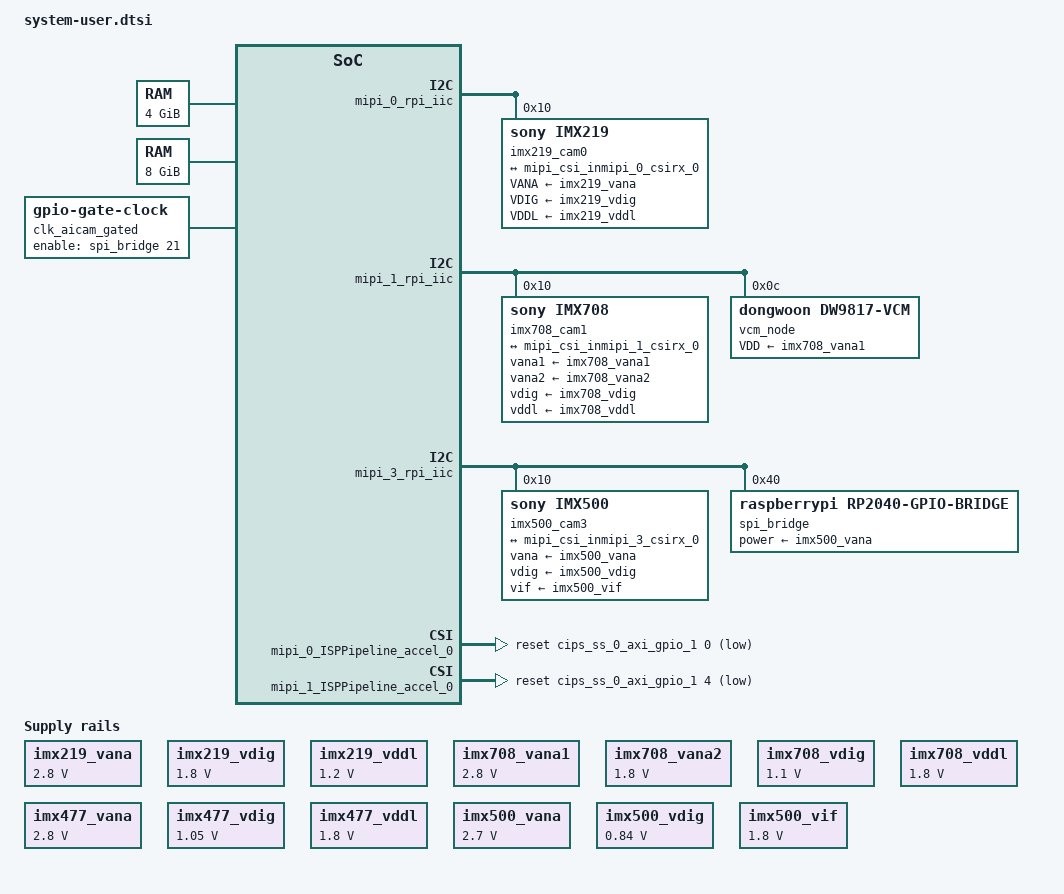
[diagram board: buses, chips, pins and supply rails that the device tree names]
//#include "include/dt-bindings/media/xilinx-vip.h"
/include/ "system-conf.dtsi"
/ {
	chosen {
		bootargs = "console=ttyAMA0  earlycon=pl011,mmio32,0xFF000000,115200n8 clk_ignore_unused root=/dev/mmcblk0p2 rw rootwait";
		stdout-path = "serial0:115200n8";
	};

	memorynoc_ddr4: memory@0 {
		device_type = "memory";
		reg = <0x0 0x00000000 0x0 0x80000000>, <0x8 0x00000000 0x0 0x80000000>;
	};

	memorynoc_lpddr4: memory@50000000000 {
		device_type = "memory";
		reg = <0x00000500 0x00000000 0x00000002 0x00000000>;
	};

	reserved-memory {
		#address-cells = <2>;
		#size-cells = <2>;
		ranges;

		video_reserved: cap_buf@0 {
			compatible = "shared-dma-pool";
			reg = <0x8 0x0 0x0 0x80000000>;
			reusable;
		};

		reserved: buffer@0 {
			compatible = "shared-dma-pool";
			reusable;
			reg = <0x500 0x0 0x2 0x0>;
			linux,cma-default;
		};
	};
};

#include "i2c0_mux_conf.dtsi"

&amba_pl {
	imx219_clk: imx219_clk {
		#clock-cells = <0x0>;
		clock-frequency = <24000000>;
		compatible = "fixed-clock";
	};

	imx219_vana: fixedregulator@3 {
		compatible = "regulator-fixed";
		regulator-name = "imx219_vana";
		regulator-min-microvolt = <2800000>;
		regulator-max-microvolt = <2800000>;
		enable-active-high;
	};

	imx219_vdig: fixedregulator@4 {
		compatible = "regulator-fixed";
		regulator-name = "imx219_vdig";
		regulator-min-microvolt = <1800000>;
		regulator-max-microvolt = <1800000>;
	};

	imx219_vddl: fixedregulator@5 {
		compatible = "regulator-fixed";
		regulator-name = "imx219_vddl";
		regulator-min-microvolt = <1200000>;
		regulator-max-microvolt = <1200000>;
	};

	imx708_clk: imx708_clk {
		#clock-cells = <0x0>;
		clock-frequency = <24000000>;
		compatible = "fixed-clock";
	};

	imx708_vana1: fixedregulator@3 {
		compatible = "regulator-fixed";
		regulator-name = "imx708_vana1";
		regulator-min-microvolt = <2800000>;
		regulator-max-microvolt = <2800000>;
		enable-active-high;
	};
	imx708_vana2: fixedregulator@3 {
		compatible = "regulator-fixed";
		regulator-name = "imx708_vana2";
		regulator-min-microvolt = <1800000>;
		regulator-max-microvolt = <1800000>;
		enable-active-high;
	};

	imx708_vdig: fixedregulator@4 {
		compatible = "regulator-fixed";
		regulator-name = "imx708_vdig";
		regulator-min-microvolt = <1100000>;
		regulator-max-microvolt = <1100000>;
	};

	imx708_vddl: fixedregulator@5 {
		compatible = "regulator-fixed";
		regulator-name = "imx708_vddl";
		regulator-min-microvolt = <1800000>;
		regulator-max-microvolt = <1800000>;
	};		


	imx477_clk: imx477_clk {
		#clock-cells = <0x0>;
		clock-frequency = <24000000>;
		compatible = "fixed-clock";
	};

	imx477_vana: fixedregulator@3 {
		compatible = "regulator-fixed";
		regulator-name = "imx477_vana";
		regulator-min-microvolt = <2800000>;
		regulator-max-microvolt = <2800000>;
		enable-active-high;
	};

	imx477_vdig: fixedregulator@4 {
		compatible = "regulator-fixed";
		regulator-name = "imx477_vdig";
		regulator-min-microvolt = <1050000>;
		regulator-max-microvolt = <1050000>;
	};

	imx477_vddl: fixedregulator@5 {
		compatible = "regulator-fixed";
		regulator-name = "imx477_vddl";
		regulator-min-microvolt = <1800000>;
		regulator-max-microvolt = <1800000>;
	};
	

	imx500_clk: imx500_clk {
		#clock-cells = <0x0>;
		clock-frequency = <24000000>;
		compatible = "fixed-clock";
	};

	imx500_vana: fixedregulator@3 {
		compatible = "regulator-fixed";
		regulator-name = "imx500_vana";
		regulator-min-microvolt = <2700000>;
		regulator-max-microvolt = <2700000>;
		enable-active-high;
	};

	imx500_vdig: fixedregulator@4 {
		compatible = "regulator-fixed";
		regulator-name = "imx500_vdig";
		regulator-min-microvolt = <840000>;
		regulator-max-microvolt = <840000>;
	};

	imx500_vif: fixedregulator@5 {
		compatible = "regulator-fixed";
		regulator-name = "imx500_vif";
		regulator-min-microvolt = <1800000>;
		regulator-max-microvolt = <1800000>;
	};
	
	clk_aicam: clk-aicam1 {
		compatible = "fixed-clock";
		#clock-cells = <0>;
		clock-frequency = <24000000>;
	};

	clk_aicam_gated: clk-aicam-gated1 {
		compatible = "gpio-gate-clock";
		clocks = <&clk_aicam>;
		#clock-cells = <0>;
		enable-gpios = <&spi_bridge 21 GPIO_ACTIVE_HIGH>;
	};			

};

&mipi_0_rpi_iic {
	imx219_cam0: sensor@10 {
		compatible = "sony,imx219";
		reg = <0x10>;
		
		clocks = <&imx219_clk>;
		clock-names = "xclk";		
		
		VANA-supply = <&imx219_vana>;   /* 2.8v */
		VDIG-supply = <&imx219_vdig>;   /* 1.8v */
		VDDL-supply = <&imx219_vddl>;   /* 1.2v */

		rotation = <180>;
		orientation = <2>;
		
		port {
		     imx219_cam0_0: endpoint {
		        clock-lanes = <0>;
			data-lanes = <1 2>;
			clock-noncontinuous;
			link-frequencies = /bits/ 64 <456000000>;		     
			
			remote-endpoint = <&mipi_csi_inmipi_0_csirx_0>;
			};
		};
	};
};


&mipi_1_rpi_iic {
	imx708_cam1: sensor@10 {
		compatible = "sony,imx708";
		reg = <0x10>;
		status = "okay";			
			
		clocks = <&imx708_clk>;
		clock-names = "inclk";
			
		vana1-supply = <&imx708_vana1>;   /* 2.8v */
		vana2-supply = <&imx708_vana2>;   /* 1.8v */
		vdig-supply = <&imx708_vdig>;   /* 1.1v */
		vddl-supply = <&imx708_vddl>;   /* 1.8v */

		rotation = <180>;
		orientation = <2>;

		lens-focus = <&vcm_node>;
			
		port {
		     imx708_cam1_0: endpoint {
		        clock-lanes = <0>;
			data-lanes = <1 2>;
			clock-noncontinuous;
			link-frequencies = /bits/ 64 <450000000>;

			remote-endpoint = <&mipi_csi_inmipi_1_csirx_0>;
			};
		};
	};
	vcm_node: dw9817@c {
		compatible = "dongwoon,dw9817-vcm";
		reg = <0x0c>;
		status = "okay";
			
		VDD-supply = <&imx708_vana1>; /* 2.8v */
	};
};

&mipi_3_rpi_iic {
	imx500_cam3: sensor@10 {
		compatible = "sony,imx500";
		reg = <0x10>;
		status = "okay";
		//clocks = <&imx500_clk>;
		//clock-names = "inclk";
		clocks = <&clk_aicam_gated>;
						
		vana-supply = <&imx500_vana>;   /* 2.7v */
		vdig-supply = <&imx500_vdig>;   /* 0.84v */
		vif-supply = <&imx500_vif>;   /* 1.8v */		
		
		rotation = <180>;
		orientation = <2>;
		
		port {
		     imx500_cam3_0: endpoint {
		        clock-lanes = <0>;
			data-lanes = <1 2>;
			clock-noncontinuous;
			link-frequencies = /bits/ 64 <444000000>;		     
			
			remote-endpoint = <&mipi_csi_inmipi_3_csirx_0>;
			};
		};
	};
	spi_bridge: spi@40 {
		reg = <0x40>;
		compatible = "raspberrypi,rp2040-gpio-bridge";
		status = "okay";
			
		#address-cells = <1>;
		#size-cells = <0>;

		power-supply = <&imx500_vana>; /* 2.7v */

		#gpio-cells = <2>;
		gpio-controller;
		
		fast_xfer_requires_i2c_lock = <1>;
		fast_xfer_recv_gpio_base = <11>;
		/*
		// TODO : connection to AXI_SPI ?
		fast_xfer-gpios = <&rp1_gpio 40 0>, // CD1_SDA (used as data)
				  <&rp1_gpio 48 0>; // CD1_IO1_MICDAT1 (clock)		
		*/
		
		bypass-cache?;
		
		spi_bridgedev0: spidev@0{
			compatible = "sony,imx500";
			reg = <0>;	/* CE0 */
			#address-cells = <1>;
			#size-cells = <0>;
			spi-max-frequency = <35000000>;
		};
	};
};

&mipi_0_csirx_0 {
	xlnx,en-active-lanes;
};

&mipi_1_csirx_0 {
	xlnx,en-active-lanes;
};

&mipi_3_csirx_0 {
	xlnx,en-active-lanes;
};

&mipi_csi_inmipi_0_csirx_0 {
	remote-endpoint = <&imx219_cam0_0>;
};

&mipi_csi_inmipi_1_csirx_0 {
	remote-endpoint = <&imx708_cam1_0>;
};

&mipi_csi_inmipi_3_csirx_0 {
	remote-endpoint = <&imx500_cam3_0>;
};

&mipi_0_ISPPipeline_accel_0 {
	reset-gpios = <&cips_ss_0_axi_gpio_1 0 1>;
	xlnx,max-height = /bits/ 16 <4096>;
	xlnx,max-width = /bits/ 16 <4096>;
	xlnx,rgain = /bits/ 16 <128>;
	xlnx,bgain = /bits/ 16 <210>;
	xlnx,pawb = /bits/ 16 <350>;
	xlnx,mode-reg = <1>;
};

&isppipeline_port0mipi_0_ISPPipeline_accel_0 {
	xlnx,video-format = <12>; // XVIP_VF_MONO_SENSOR
	xlnx,video-width = <10>;
	xlnx,cfa-pattern = "rggb";
};

&isppipeline_port1mipi_0_ISPPipeline_accel_0 {
	//xlnx,video-format = <3>; // XVIP_VF_YUV_420
	//xlnx,video-format = <2>; // XVIP_VF_RBG
	xlnx,video-format = <21>; // XVIP_VF_XRGB
	xlnx,video-width = <8>;
	xlnx,cfa-pattern = "rggb";
};

&mipi_1_ISPPipeline_accel_0 {
	reset-gpios = <&cips_ss_0_axi_gpio_1 4 1>;
	xlnx,max-height = /bits/ 16 <4096>;
	xlnx,max-width = /bits/ 16 <4096>;
	xlnx,rgain = /bits/ 16 <128>;
	xlnx,bgain = /bits/ 16 <210>;
	xlnx,pawb = /bits/ 16 <350>;
	xlnx,mode-reg = <1>;
};

&isppipeline_port0mipi_1_ISPPipeline_accel_0 {
	xlnx,video-format = <12>; // XVIP_VF_MONO_SENSOR
	xlnx,video-width = <10>;
	xlnx,cfa-pattern = "rggb";
};

&isppipeline_port1mipi_1_ISPPipeline_accel_0 {
	//xlnx,video-format = <3>; // XVIP_VF_YUV_420
	//xlnx,video-format = <2>; // XVIP_VF_RBG
	xlnx,video-format = <21>; // XVIP_VF_XRGB
	xlnx,video-width = <8>;
	xlnx,cfa-pattern = "rggb";
};

&mipi_3_ISPPipeline_accel_0 {
	rreset-gpios = <&cips_ss_0_axi_gpio_1 12 1>;
	xlnx,max-height = /bits/ 16 <4096>;
	xlnx,max-width = /bits/ 16 <4096>;
	xlnx,rgain = /bits/ 16 <128>;
	xlnx,bgain = /bits/ 16 <210>;
	xlnx,pawb = /bits/ 16 <350>;
	xlnx,mode-reg = <1>;
};

&isppipeline_port0mipi_3_ISPPipeline_accel_0 {
	xlnx,video-format = <12>; // XVIP_VF_MONO_SENSOR
	xlnx,video-width = <10>;
	xlnx,cfa-pattern = "rggb";
};

&isppipeline_port1mipi_3_ISPPipeline_accel_0 {
	//xlnx,video-format = <3>; // XVIP_VF_YUV_420
	//xlnx,video-format = <2>; // XVIP_VF_RBG
	xlnx,video-format = <21>; // XVIP_VF_XRGB
	xlnx,video-width = <8>;
	xlnx,cfa-pattern = "rggb";
};

&mipi_0_v_proc_csc {
	compatible = "xlnx,v-vpss-scaler-2.2";
};
&scaler_port1mipi_0_v_proc_csc {
	//xlnx,video-format = <3>; // XVIP_VF_YUV_420
	//xlnx,video-format = <2>; // XVIP_VF_RBG
	xlnx,video-format = <21>; // XVIP_VF_XRGB
	xlnx,video-width = <8>;
};
&scaler_port0mipi_0_v_proc_csc {
	//xlnx,video-format = <3>; // XVIP_VF_YUV_420
	//xlnx,video-format = <2>; // XVIP_VF_RBG
	xlnx,video-format = <21>; // XVIP_VF_XRGB
	xlnx,video-width = <8>;
};

&mipi_1_v_proc_csc {
	compatible = "xlnx,v-vpss-scaler-2.2";
};
&scaler_port1mipi_1_v_proc_csc {
	//xlnx,video-format = <3>; // XVIP_VF_YUV_420
	//xlnx,video-format = <2>; // XVIP_VF_RBG
	xlnx,video-format = <21>; // XVIP_VF_XRGB
	xlnx,video-width = <8>;
};
&scaler_port0mipi_1_v_proc_csc {
	//xlnx,video-format = <3>; // XVIP_VF_YUV_420
	//xlnx,video-format = <2>; // XVIP_VF_RBG
	xlnx,video-format = <21>; // XVIP_VF_XRGB
	xlnx,video-width = <8>;
};

&mipi_3_v_proc_csc {
	compatible = "xlnx,v-vpss-scaler-2.2";
};
&scaler_port1mipi_3_v_proc_csc {
	//xlnx,video-format = <3>; // XVIP_VF_YUV_420
	//xlnx,video-format = <2>; // XVIP_VF_RBG
	xlnx,video-format = <21>; // XVIP_VF_XRGB
	xlnx,video-width = <8>;
};
&scaler_port0mipi_3_v_proc_csc {
	//xlnx,video-format = <3>; // XVIP_VF_YUV_420
	//xlnx,video-format = <2>; // XVIP_VF_RBG
	xlnx,video-format = <21>; // XVIP_VF_XRGB
	xlnx,video-width = <8>;
};


&mipi_csi_port1mipi_0_csirx_0 {
	xlnx,cfa-pattern = "rggb";
	xlnx,video-format = <12>; // XVIP_VF_MONO_SENSOR
	//xlnx,video-width = <8>;
	xlnx,video-width = <10>;
};

&mipi_csi_port0mipi_0_csirx_0 {
	xlnx,cfa-pattern = "rggb";
	xlnx,video-format = <12>; // XVIP_VF_MONO_SENSOR
	//xlnx,video-width = <8>;
	xlnx,video-width = <10>;
};

&mipi_csi_port1mipi_1_csirx_0 {
	xlnx,cfa-pattern = "rggb";
	xlnx,video-format = <12>; // XVIP_VF_MONO_SENSOR
	//xlnx,video-width = <8>;
	xlnx,video-width = <10>;
};

&mipi_csi_port0mipi_1_csirx_0 {
	xlnx,cfa-pattern = "rggb";
	xlnx,video-format = <12>; // XVIP_VF_MONO_SENSOR
	//xlnx,video-width = <8>;
	xlnx,video-width = <10>;
};

&mipi_csi_port1mipi_3_csirx_0 {
	xlnx,cfa-pattern = "rggb";
	xlnx,video-format = <12>; // XVIP_VF_MONO_SENSOR
	//xlnx,video-width = <8>;
	xlnx,video-width = <10>;
};

&mipi_csi_port0mipi_3_csirx_0 {
	xlnx,cfa-pattern = "rggb";
	xlnx,video-format = <12>; // XVIP_VF_MONO_SENSOR
	//xlnx,video-width = <8>;
	xlnx,video-width = <10>;
};
		

//#include "pl-custom.dtsi"
//#include "mipi-0-imx219.dtsi"
//#include "mipi-1-imx219.dtsi"
//#include "mipi-1-imx708.dtsi"
//#include "mipi-3-imx219.dtsi"
//#include "mipi-3-imx477.dtsi"
//#include "mipi-3-imx500.dtsi"
//#include "display.dtsi"









